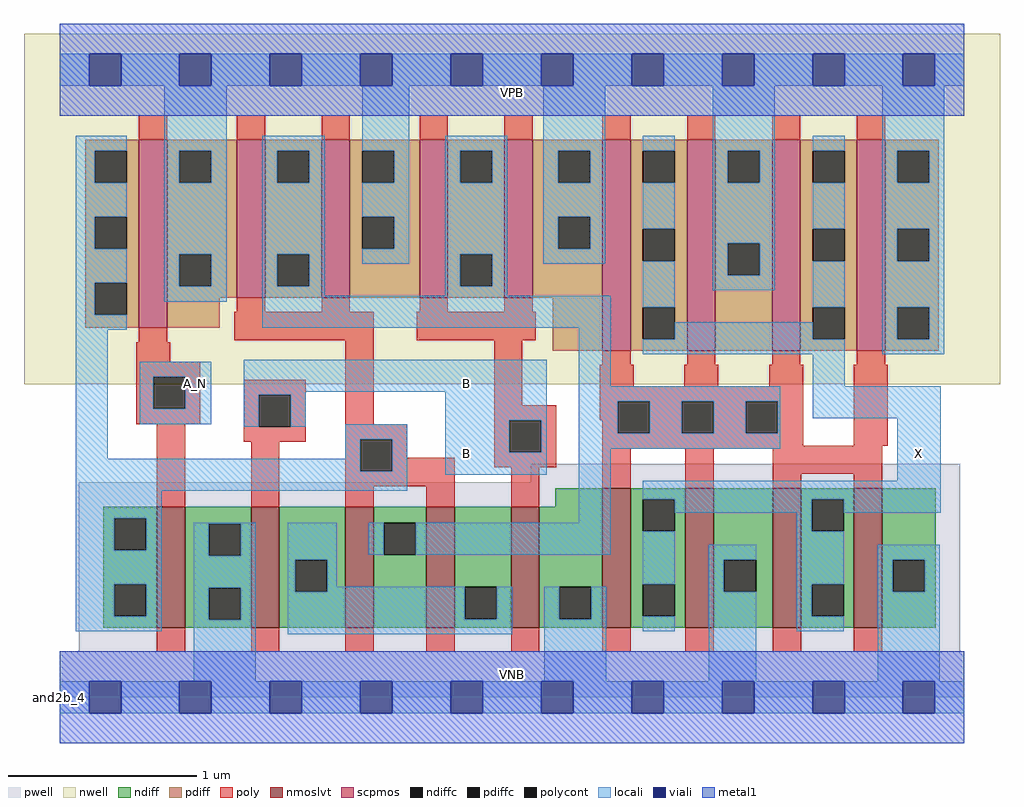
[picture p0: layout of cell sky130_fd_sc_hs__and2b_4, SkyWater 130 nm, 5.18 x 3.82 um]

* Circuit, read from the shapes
.subckt sky130_fd_sc_hs__and2b_4 A_N B VGND VNB VPB VPWR X
XM1 VGND A_N n1 VNB sky130_fd_pr__nfet_01v8_lvt w=0.64 l=0.15
XM2 n2 B VGND VNB sky130_fd_pr__nfet_01v8_lvt w=0.64 l=0.15 m=2
XM3 n3 n1 n2 VNB sky130_fd_pr__nfet_01v8_lvt w=0.64 l=0.15 m=2
XM4 X n3 VGND VNB sky130_fd_pr__nfet_01v8_lvt w=0.74 l=0.15 m=4
XM5 VPWR A_N n1 VPB sky130_fd_pr__pfet_01v8 w=1 l=0.15
XM6 n3 n1 VPWR VPB sky130_fd_pr__pfet_01v8 w=0.84 l=0.15 m=2
XM7 n3 B VPWR VPB sky130_fd_pr__pfet_01v8 w=0.84 l=0.15 m=2
XM8 X n3 VPWR VPB sky130_fd_pr__pfet_01v8 w=1.12 l=0.15 m=4
.ends

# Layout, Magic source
magic
tech sky130A
magscale 1 2
<< nwell >>
rect -38 332 998 704
<< pwell >>
rect 500 228 956 248
rect 20 49 956 228
rect 0 0 960 49
<< scpmos >>
rect 84 392 114 592
rect 188 424 218 592
rect 278 424 308 592
rect 382 424 412 592
rect 472 424 502 592
rect 576 368 606 592
rect 666 368 696 592
rect 756 368 786 592
rect 846 368 876 592
<< nmoslvt >>
rect 103 74 133 202
rect 203 74 233 202
rect 303 74 333 202
rect 389 74 419 202
rect 479 74 509 202
rect 576 74 606 222
rect 664 74 694 222
rect 757 74 787 222
rect 843 74 873 222
<< ndiff >>
rect 526 202 576 222
rect 46 190 103 202
rect 46 156 58 190
rect 92 156 103 190
rect 46 120 103 156
rect 46 86 58 120
rect 92 86 103 120
rect 46 74 103 86
rect 133 184 203 202
rect 133 150 158 184
rect 192 150 203 184
rect 133 116 203 150
rect 133 82 158 116
rect 192 82 203 116
rect 133 74 203 82
rect 233 146 303 202
rect 233 112 250 146
rect 284 112 303 146
rect 233 74 303 112
rect 333 185 389 202
rect 333 151 344 185
rect 378 151 389 185
rect 333 74 389 151
rect 419 117 479 202
rect 419 83 430 117
rect 464 83 479 117
rect 419 74 479 83
rect 509 117 576 202
rect 509 83 530 117
rect 564 83 576 117
rect 509 74 576 83
rect 606 210 664 222
rect 606 176 619 210
rect 653 176 664 210
rect 606 120 664 176
rect 606 86 619 120
rect 653 86 664 120
rect 606 74 664 86
rect 694 146 757 222
rect 694 112 705 146
rect 739 112 757 146
rect 694 74 757 112
rect 787 210 843 222
rect 787 176 798 210
rect 832 176 843 210
rect 787 120 843 176
rect 787 86 798 120
rect 832 86 843 120
rect 787 74 843 86
rect 873 146 930 222
rect 873 112 884 146
rect 918 112 930 146
rect 873 74 930 112
<< pdiff >>
rect 27 580 84 592
rect 27 546 37 580
rect 71 546 84 580
rect 27 510 84 546
rect 27 476 37 510
rect 71 476 84 510
rect 27 440 84 476
rect 27 406 37 440
rect 71 406 84 440
rect 27 392 84 406
rect 114 580 188 592
rect 114 546 127 580
rect 161 546 188 580
rect 114 470 188 546
rect 114 436 127 470
rect 161 436 188 470
rect 114 424 188 436
rect 218 580 278 592
rect 218 546 231 580
rect 265 546 278 580
rect 218 470 278 546
rect 218 436 231 470
rect 265 436 278 470
rect 218 424 278 436
rect 308 580 382 592
rect 308 546 321 580
rect 355 546 382 580
rect 308 510 382 546
rect 308 476 321 510
rect 355 476 382 510
rect 308 424 382 476
rect 412 580 472 592
rect 412 546 425 580
rect 459 546 472 580
rect 412 470 472 546
rect 412 436 425 470
rect 459 436 472 470
rect 412 424 472 436
rect 502 580 576 592
rect 502 546 529 580
rect 563 546 576 580
rect 502 510 576 546
rect 502 476 529 510
rect 563 476 576 510
rect 502 424 576 476
rect 114 392 170 424
rect 523 368 576 424
rect 606 580 666 592
rect 606 546 619 580
rect 653 546 666 580
rect 606 497 666 546
rect 606 463 619 497
rect 653 463 666 497
rect 606 414 666 463
rect 606 380 619 414
rect 653 380 666 414
rect 606 368 666 380
rect 696 580 756 592
rect 696 546 709 580
rect 743 546 756 580
rect 696 482 756 546
rect 696 448 709 482
rect 743 448 756 482
rect 696 368 756 448
rect 786 580 846 592
rect 786 546 799 580
rect 833 546 846 580
rect 786 497 846 546
rect 786 463 799 497
rect 833 463 846 497
rect 786 414 846 463
rect 786 380 799 414
rect 833 380 846 414
rect 786 368 846 380
rect 876 580 933 592
rect 876 546 889 580
rect 923 546 933 580
rect 876 497 933 546
rect 876 463 889 497
rect 923 463 933 497
rect 876 414 933 463
rect 876 380 889 414
rect 923 380 933 414
rect 876 368 933 380
<< ndiffc >>
rect 58 156 92 190
rect 58 86 92 120
rect 158 150 192 184
rect 158 82 192 116
rect 250 112 284 146
rect 344 151 378 185
rect 430 83 464 117
rect 530 83 564 117
rect 619 176 653 210
rect 619 86 653 120
rect 705 112 739 146
rect 798 176 832 210
rect 798 86 832 120
rect 884 112 918 146
<< pdiffc >>
rect 37 546 71 580
rect 37 476 71 510
rect 37 406 71 440
rect 127 546 161 580
rect 127 436 161 470
rect 231 546 265 580
rect 231 436 265 470
rect 321 546 355 580
rect 321 476 355 510
rect 425 546 459 580
rect 425 436 459 470
rect 529 546 563 580
rect 529 476 563 510
rect 619 546 653 580
rect 619 463 653 497
rect 619 380 653 414
rect 709 546 743 580
rect 709 448 743 482
rect 799 546 833 580
rect 799 463 833 497
rect 799 380 833 414
rect 889 546 923 580
rect 889 463 923 497
rect 889 380 923 414
<< poly >>
rect 84 592 114 618
rect 188 592 218 618
rect 278 592 308 618
rect 382 592 412 618
rect 472 592 502 618
rect 576 592 606 618
rect 666 592 696 618
rect 756 592 786 618
rect 846 592 876 618
rect 188 409 218 424
rect 278 409 308 424
rect 382 409 412 424
rect 472 409 502 424
rect 84 377 114 392
rect 185 379 333 409
rect 379 379 505 409
rect 81 356 117 377
rect 81 340 149 356
rect 81 306 99 340
rect 133 306 149 340
rect 81 290 149 306
rect 195 321 261 337
rect 103 202 133 290
rect 195 287 211 321
rect 245 287 261 321
rect 195 271 261 287
rect 303 290 333 379
rect 461 310 491 379
rect 576 353 606 368
rect 666 353 696 368
rect 756 353 786 368
rect 846 353 876 368
rect 573 330 609 353
rect 663 330 699 353
rect 753 330 789 353
rect 573 314 789 330
rect 461 294 527 310
rect 573 294 592 314
rect 303 274 369 290
rect 203 202 233 271
rect 303 240 319 274
rect 353 254 369 274
rect 461 260 477 294
rect 511 260 527 294
rect 353 240 419 254
rect 461 244 527 260
rect 576 280 592 294
rect 626 280 660 314
rect 694 280 728 314
rect 762 280 789 314
rect 576 267 789 280
rect 843 267 879 353
rect 576 264 873 267
rect 303 224 419 240
rect 303 202 333 224
rect 389 202 419 224
rect 479 202 509 244
rect 576 222 606 264
rect 664 222 694 264
rect 757 237 873 264
rect 757 222 787 237
rect 843 222 873 237
rect 103 48 133 74
rect 203 48 233 74
rect 303 48 333 74
rect 389 48 419 74
rect 479 48 509 74
rect 576 48 606 74
rect 664 48 694 74
rect 757 48 787 74
rect 843 48 873 74
<< polycont >>
rect 99 306 133 340
rect 211 287 245 321
rect 319 240 353 274
rect 477 260 511 294
rect 592 280 626 314
rect 660 280 694 314
rect 728 280 762 314
<< locali >>
rect 0 649 31 683
rect 65 649 127 683
rect 161 649 223 683
rect 257 649 319 683
rect 353 649 415 683
rect 449 649 511 683
rect 545 649 607 683
rect 641 649 703 683
rect 737 649 799 683
rect 833 649 895 683
rect 929 649 960 683
rect 17 580 71 596
rect 17 546 37 580
rect 17 510 71 546
rect 17 476 37 510
rect 17 440 71 476
rect 17 406 37 440
rect 111 580 177 649
rect 111 546 127 580
rect 161 546 177 580
rect 111 470 177 546
rect 111 436 127 470
rect 161 436 177 470
rect 111 420 177 436
rect 215 580 281 596
rect 215 546 231 580
rect 265 546 281 580
rect 215 470 281 546
rect 215 436 231 470
rect 265 436 281 470
rect 321 580 371 649
rect 355 546 371 580
rect 321 510 371 546
rect 355 476 371 510
rect 321 460 371 476
rect 409 580 475 596
rect 409 546 425 580
rect 459 546 475 580
rect 409 470 475 546
rect 215 426 281 436
rect 409 436 425 470
rect 459 436 475 470
rect 513 580 579 649
rect 513 546 529 580
rect 563 546 579 580
rect 513 510 579 546
rect 513 476 529 510
rect 563 476 579 510
rect 513 460 579 476
rect 619 580 653 596
rect 619 497 653 546
rect 409 426 475 436
rect 17 390 71 406
rect 215 392 585 426
rect 17 253 51 390
rect 85 340 161 356
rect 85 306 99 340
rect 133 306 161 340
rect 85 290 161 306
rect 195 324 517 358
rect 195 321 261 324
rect 195 287 211 321
rect 245 287 261 321
rect 409 294 517 324
rect 303 274 369 290
rect 303 253 319 274
rect 17 240 319 253
rect 353 240 369 274
rect 17 219 369 240
rect 409 260 477 294
rect 511 260 517 294
rect 409 236 517 260
rect 551 330 585 392
rect 619 414 653 463
rect 693 580 759 649
rect 693 546 709 580
rect 743 546 759 580
rect 693 482 759 546
rect 693 448 709 482
rect 743 448 759 482
rect 693 432 759 448
rect 799 580 833 596
rect 799 497 833 546
rect 799 414 833 463
rect 653 380 799 398
rect 619 364 833 380
rect 873 580 939 649
rect 873 546 889 580
rect 923 546 939 580
rect 873 497 939 546
rect 873 463 889 497
rect 923 463 939 497
rect 873 414 939 463
rect 873 380 889 414
rect 923 380 939 414
rect 873 364 939 380
rect 799 330 833 364
rect 551 314 765 330
rect 551 280 592 314
rect 626 280 660 314
rect 694 280 728 314
rect 762 280 765 314
rect 799 296 935 330
rect 551 264 765 280
rect 17 190 108 219
rect 17 156 58 190
rect 92 156 108 190
rect 551 185 585 264
rect 889 230 935 296
rect 17 120 108 156
rect 17 86 58 120
rect 92 86 108 120
rect 17 70 108 86
rect 142 184 208 185
rect 142 150 158 184
rect 192 150 208 184
rect 142 116 208 150
rect 142 82 158 116
rect 192 82 208 116
rect 142 17 208 82
rect 242 146 294 185
rect 328 151 344 185
rect 378 151 585 185
rect 619 210 935 230
rect 653 196 798 210
rect 242 112 250 146
rect 284 117 294 146
rect 619 120 653 176
rect 782 176 798 196
rect 832 196 935 210
rect 284 112 430 117
rect 242 83 430 112
rect 464 83 480 117
rect 242 67 480 83
rect 514 83 530 117
rect 564 83 580 117
rect 514 17 580 83
rect 619 70 653 86
rect 689 146 739 162
rect 689 112 705 146
rect 689 17 739 112
rect 782 120 832 176
rect 782 86 798 120
rect 782 70 832 86
rect 868 146 934 162
rect 868 112 884 146
rect 918 112 934 146
rect 868 17 934 112
rect 0 -17 31 17
rect 65 -17 127 17
rect 161 -17 223 17
rect 257 -17 319 17
rect 353 -17 415 17
rect 449 -17 511 17
rect 545 -17 607 17
rect 641 -17 703 17
rect 737 -17 799 17
rect 833 -17 895 17
rect 929 -17 960 17
<< viali >>
rect 31 649 65 683
rect 127 649 161 683
rect 223 649 257 683
rect 319 649 353 683
rect 415 649 449 683
rect 511 649 545 683
rect 607 649 641 683
rect 703 649 737 683
rect 799 649 833 683
rect 895 649 929 683
rect 31 -17 65 17
rect 127 -17 161 17
rect 223 -17 257 17
rect 319 -17 353 17
rect 415 -17 449 17
rect 511 -17 545 17
rect 607 -17 641 17
rect 703 -17 737 17
rect 799 -17 833 17
rect 895 -17 929 17
<< metal1 >>
rect 0 683 960 715
rect 0 649 31 683
rect 65 649 127 683
rect 161 649 223 683
rect 257 649 319 683
rect 353 649 415 683
rect 449 649 511 683
rect 545 649 607 683
rect 641 649 703 683
rect 737 649 799 683
rect 833 649 895 683
rect 929 649 960 683
rect 0 617 960 649
rect 0 17 960 49
rect 0 -17 31 17
rect 65 -17 127 17
rect 161 -17 223 17
rect 257 -17 319 17
rect 353 -17 415 17
rect 449 -17 511 17
rect 545 -17 607 17
rect 641 -17 703 17
rect 737 -17 799 17
rect 833 -17 895 17
rect 929 -17 960 17
rect 0 -49 960 -17
<< labels >>
rlabel comment s 0 0 0 0 4 and2b_4
flabel pwell s 0 0 960 49 0 FreeSans 200 0 0 0 VNB
port 4 nsew ground bidirectional
flabel nwell s 0 617 960 666 0 FreeSans 200 0 0 0 VPB
port 5 nsew power bidirectional
flabel metal1 s 0 617 960 666 0 FreeSans 340 0 0 0 VPWR
port 6 nsew power bidirectional
flabel metal1 s 0 0 960 49 0 FreeSans 340 0 0 0 VGND
port 3 nsew ground bidirectional
flabel locali s 127 316 161 350 0 FreeSans 340 0 0 0 A_N
port 1 nsew signal input
flabel locali s 415 242 449 276 0 FreeSans 340 0 0 0 B
port 2 nsew signal input
flabel locali s 415 316 449 350 0 FreeSans 340 0 0 0 B
port 2 nsew signal input
flabel locali s 895 242 929 276 0 FreeSans 340 0 0 0 X
port 7 nsew signal output
<< properties >>
string LEFsite unit
string LEFclass CORE
string FIXED_BBOX 0 0 960 666
string GDS_FILE $PDKPATH/libs.ref/sky130_fd_sc_hs/gds/sky130_fd_sc_hs.gds
string LEFsymmetry X Y
string GDS_END 3238396
string GDS_START 3229972
<< end >>
